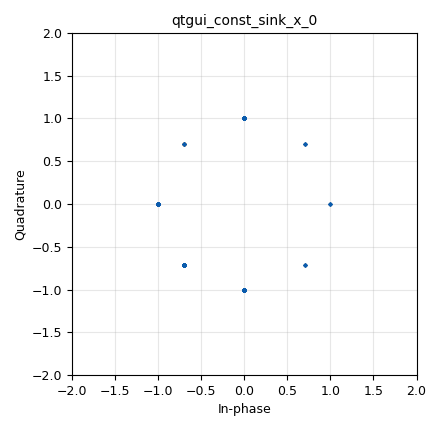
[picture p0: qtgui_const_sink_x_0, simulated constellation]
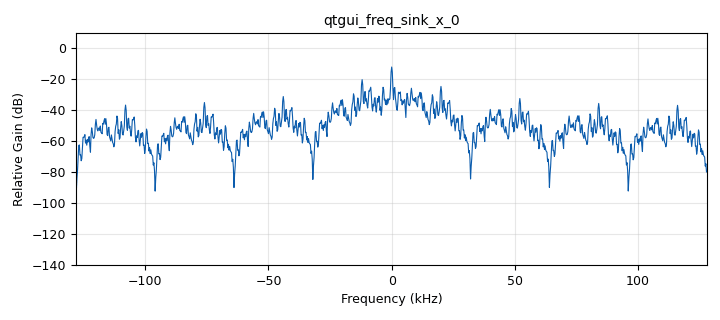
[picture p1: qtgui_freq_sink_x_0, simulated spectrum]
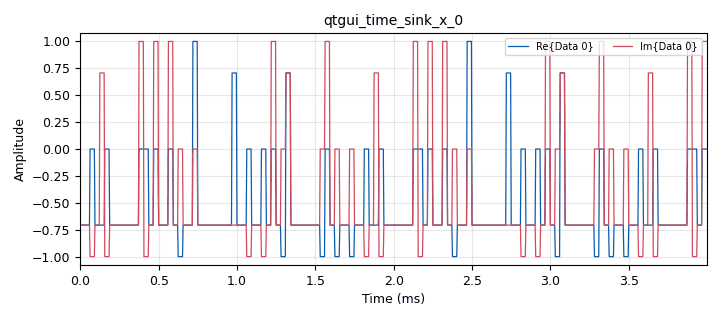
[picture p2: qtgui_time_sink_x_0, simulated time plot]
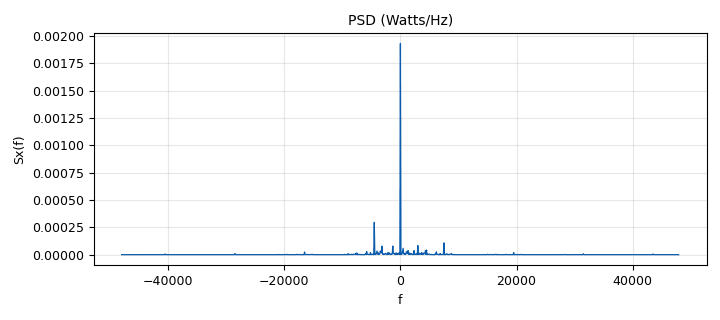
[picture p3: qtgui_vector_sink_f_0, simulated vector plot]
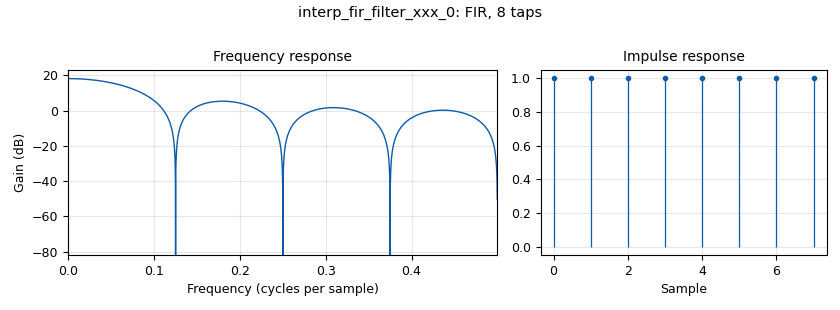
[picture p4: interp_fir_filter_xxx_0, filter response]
options:
  parameters:
    generate_options: qt_gui
    id: flujograma
    output_language: python
    title: Not titled yet
  states: {}

blocks:
- name: M
  id: variable
  parameters:
    value: len(tabla_de_verdad_constelacion)
  states: {}
- name: N
  id: variable
  parameters:
    value: '1024'
  states: {}
- name: RB
  id: variable
  parameters:
    value: RS*bps
  states: {}
- name: RS
  id: variable
  parameters:
    value: '32000'
  states: {}
- name: Sps
  id: variable
  parameters:
    value: '8'
  states: {}
- name: bps
  id: variable
  parameters:
    value: int(math.log(M, 2))
  states: {}
- name: h
  id: variable
  parameters:
    value: '[1]*Sps'
  states: {}
- name: samp_rate
  id: variable
  parameters:
    value: RS*Sps
  states: {}
- name: tabla_de_verdad_constelacion
  id: variable
  parameters:
    value: (-0.707-0.707j, -1+0j, 0+1j, -0.707+0.707j, 0-1j, 0.707-0.707j, 0.707+0.707j, 1+0j)
  states: {}
- name: analog_noise_source_x_0
  id: analog_noise_source_x
  parameters:
    amp: '0.1'
    noise_type: analog.GR_GAUSSIAN
    seed: '0'
    type: complex
  states: {state: disabled}
- name: analog_random_source_x_0
  id: analog_random_source_x
  parameters:
    max: '2'
    min: '0'
    num_samps: '1000'
    repeat: 'True'
    type: byte
  states: {state: disabled}
- name: blocks_add_xx_0
  id: blocks_add_xx
  parameters:
    type: complex
  states: {state: disabled}
- name: blocks_complex_to_float_0
  id: blocks_complex_to_float
  parameters: {}
  states: {state: disabled}
- name: blocks_complex_to_mag_squared_0
  id: blocks_complex_to_mag_squared
  parameters:
    vlen: N
  states: {}
- name: blocks_multiply_const_vxx_1
  id: blocks_multiply_const_vxx
  parameters:
    const: '[1/(N*samp_rate)]*N'
    type: float
    vlen: N
  states: {}
- name: blocks_pack_k_bits_bb_0
  id: blocks_pack_k_bits_bb
  parameters:
    k: '8'
  states: {state: disabled}
- name: blocks_packed_to_unpacked_xx_0
  id: blocks_packed_to_unpacked_xx
  parameters:
    bits_per_chunk: bps
    endianness: gr.GR_MSB_FIRST
    type: byte
  states: {}
- name: blocks_stream_to_vector_0
  id: blocks_stream_to_vector
  parameters:
    num_items: N
    type: float
  states: {state: disabled}
- name: blocks_stream_to_vector_1
  id: blocks_stream_to_vector
  parameters:
    num_items: N
    type: complex
  states: {}
- name: blocks_vector_source_x_0
  id: blocks_vector_source_x
  parameters:
    repeat: 'True'
    type: byte
    vector: (5,2,1,2,7,0,0)
  states: {}
- name: digital_chunks_to_symbols_xx_0
  id: digital_chunks_to_symbols_xx
  parameters:
    dimension: '1'
    in_type: byte
    out_type: complex
    symbol_table: tabla_de_verdad_constelacion
  states: {}
- name: epy_block_0
  id: epy_block
  parameters:
    N: N
    _source_code: |
      import numpy as np
      from gnuradio import gr


      class blk(gr.sync_block):  
          """vector averager. N is the lengh of the vector"""

          def __init__(self, N=1024):
              gr.sync_block.__init__(
                  self,
                  name='e_vec_averager_ff',   
                  in_sig=[(np.float32,N)],
                  out_sig=[(np.float32,N)]
              )
              self.N = N
              self.rows_counter=0
              self.sum=0

          def work(self, input_items, output_items):
              x=input_items[0]
              y=output_items[0]
              self.sum += np.sum(x, axis=0)
              self.rows_counter += len(x)
              y[:]=self.sum/self.rows_counter
              return len(output_items[0])
  states: {}
- name: fft_vxx_0
  id: fft_vxx
  parameters:
    fft_size: N
    forward: 'True'
    shift: 'True'
    type: complex
    window: '[1]*N'
  states: {}
- name: import_0
  id: import
  parameters:
    imports: import math
  states: {}
- name: interp_fir_filter_xxx_0
  id: interp_fir_filter_xxx
  parameters:
    interp: Sps
    taps: h
    type: ccc
  states: {}
- name: qtgui_const_sink_x_0
  id: qtgui_const_sink_x
  parameters:
    size: '1024'
    type: complex
  states: {}
- name: qtgui_freq_sink_x_0
  id: qtgui_freq_sink_x
  parameters:
    average: '0.05'
    bw: samp_rate
    fc: '0'
    fftsize: '1024'
    type: complex
  states: {}
- name: qtgui_time_sink_x_0
  id: qtgui_time_sink_x
  parameters:
    size: '1024'
    srate: samp_rate
    type: complex
  states: {}
- name: qtgui_vector_sink_f_0
  id: qtgui_vector_sink_f
  parameters:
    autoscale: 'True'
    grid: 'True'
    label1: p4
    name: '"PSD (Watts/Hz)"'
    vlen: N
    x_axis_label: '"f"'
    x_start: '-RB/2'
    x_step: RB/N
    x_units: '"Hz"'
    y_axis_label: '"Sx(f)"'
    y_units: '"Watts/Hz"'
    ymax: 1/RB
    ymin: '0'
  states: {}
- name: virtual_sink_0
  id: virtual_sink
  parameters:
    stream_id: p0
  states: {}
- name: virtual_sink_0_0
  id: virtual_sink
  parameters:
    stream_id: p1
  states: {}
- name: virtual_source_0
  id: virtual_source
  parameters:
    stream_id: p0
  states: {}
- name: virtual_source_0_0
  id: virtual_source
  parameters:
    stream_id: p1
  states: {}
- name: virtual_source_0_0_0
  id: virtual_source
  parameters:
    stream_id: p1
  states: {}

connections:
- [analog_noise_source_x_0, '0', blocks_add_xx_0, '0']
- [analog_random_source_x_0, '0', blocks_pack_k_bits_bb_0, '0']
- [blocks_add_xx_0, '0', virtual_sink_0_0, '0']
- [blocks_complex_to_float_0, '0', blocks_stream_to_vector_0, '0']
- [blocks_complex_to_mag_squared_0, '0', epy_block_0, '0']
- [blocks_multiply_const_vxx_1, '0', qtgui_vector_sink_f_0, '0']
- [blocks_pack_k_bits_bb_0, '0', blocks_packed_to_unpacked_xx_0, '0']
- [blocks_packed_to_unpacked_xx_0, '0', digital_chunks_to_symbols_xx_0, '0']
- [blocks_stream_to_vector_0, '0', fft_vxx_0, '0']
- [blocks_stream_to_vector_1, '0', fft_vxx_0, '0']
- [blocks_vector_source_x_0, '0', blocks_pack_k_bits_bb_0, '0']
- [blocks_vector_source_x_0, '0', blocks_packed_to_unpacked_xx_0, '0']
- [digital_chunks_to_symbols_xx_0, '0', interp_fir_filter_xxx_0, '0']
- [epy_block_0, '0', blocks_multiply_const_vxx_1, '0']
- [fft_vxx_0, '0', blocks_complex_to_mag_squared_0, '0']
- [interp_fir_filter_xxx_0, '0', blocks_add_xx_0, '1']
- [interp_fir_filter_xxx_0, '0', virtual_sink_0, '0']
- [interp_fir_filter_xxx_0, '0', virtual_sink_0_0, '0']
- [virtual_source_0, '0', qtgui_freq_sink_x_0, '0']
- [virtual_source_0_0, '0', qtgui_const_sink_x_0, '0']
- [virtual_source_0_0, '0', qtgui_time_sink_x_0, '0']
- [virtual_source_0_0_0, '0', blocks_complex_to_float_0, '0']
- [virtual_source_0_0_0, '0', blocks_stream_to_vector_1, '0']

metadata:
  file_format: 1
  grc_version: 3.10.5.1
